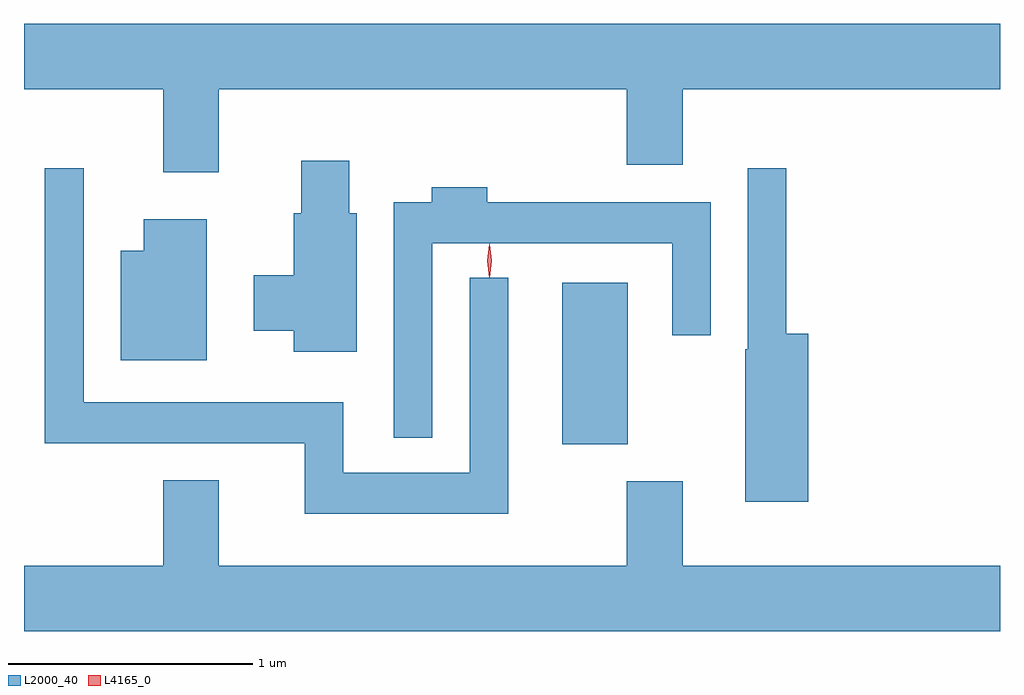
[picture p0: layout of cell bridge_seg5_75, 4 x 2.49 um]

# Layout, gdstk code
import gdstk
lib = gdstk.Library(unit=1e-6, precision=1e-09)
def R(c, l, rs):  # rectangles x0, y0, x1, y1
    for r in rs: c.add(gdstk.rectangle(r[:2], r[2:], *l))
def P(c, l, *ps):  # polygons
    for p in ps: c.add(gdstk.Polygon(p, *l))
L2000_40 = (2000, 40)
L4165_0 = (4165, 0)

bridge_seg5_75 = lib.new_cell('bridge_seg5_75')
R(bridge_seg5_75, L2000_40, [(1176.886,1501.961,1177.154,1502.624)])
P(bridge_seg5_75, L2000_40, [(1175.479,1503.416),(1177.151,1503.416),(1177.151,1503.106),(1177.379,1503.106),(1177.379,1503.416),(1178.68,1503.416),(1178.68,1503.684),(1174.68,1503.684),(1174.68,1503.416),(1175.251,1503.416),(1175.251,1503.076),(1175.479,1503.076)],
  [(1176.044,1502.909),(1176.014,1502.909),(1176.014,1503.124),(1175.816,1503.124),(1175.816,1502.909),(1175.786,1502.909),(1175.786,1502.654),(1175.621,1502.654),(1175.621,1502.426),(1175.786,1502.426),(1175.786,1502.341),(1176.044,1502.341)],
  [(1177.894,1502.414),(1177.804,1502.414),(1177.804,1503.093),(1177.646,1503.093),(1177.646,1502.35),(1177.636,1502.35),(1177.636,1501.726),(1177.894,1501.726)],
  [(1176.664,1502.643),(1176.506,1502.643),(1176.506,1501.844),(1175.989,1501.844),(1175.989,1502.134),(1174.924,1502.134),(1174.924,1503.093),(1174.766,1503.093),(1174.766,1501.966),(1175.831,1501.966),(1175.831,1501.676),(1176.664,1501.676)],
  [(1176.354,1502.786),(1177.336,1502.786),(1177.336,1502.408),(1177.494,1502.408),(1177.494,1502.954),(1176.579,1502.954),(1176.579,1503.014),(1176.351,1503.014),(1176.351,1502.954),(1176.196,1502.954),(1176.196,1501.988),(1176.354,1501.988)],
  [(1175.429,1502.884),(1175.171,1502.884),(1175.171,1502.754),(1175.076,1502.754),(1175.076,1502.306),(1175.429,1502.306)],
  [(1178.68,1501.464),(1177.379,1501.464),(1177.379,1501.809),(1177.151,1501.809),(1177.151,1501.464),(1175.479,1501.464),(1175.479,1501.814),(1175.251,1501.814),(1175.251,1501.464),(1174.68,1501.464),(1174.68,1501.196),(1178.68,1501.196)])
P(bridge_seg5_75, L4165_0, [(1176.587,1502.644),(1176.578,1502.713),(1176.587,1502.782),(1176.588,1502.783),(1176.588,1502.782),(1176.598,1502.713),(1176.588,1502.644),(1176.588,1502.644)])

lib.write_gds('bridge_seg5_75.gds')
